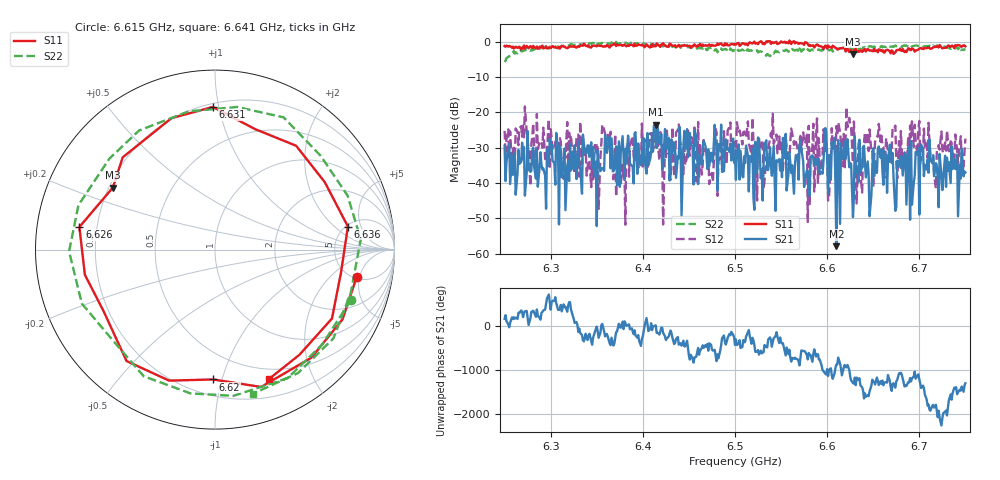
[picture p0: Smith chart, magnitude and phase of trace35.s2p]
# Hz S RI R 50
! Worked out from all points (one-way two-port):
!   401 points, 6.25 GHz to 6.75 GHz, reference 50 ohm
!   highest |S21| = -23.48 dB at 6.414 GHz (marker M1); lowest = -57.9 dB at 6.61 GHz (marker M2)
!   lowest |S11| = -3.5 dB at 6.628 GHz (marker M3), VSWR 4.98, Z = 10.8 + j13.4 ohm
!   |S11| at or under -10 dB: nowhere
!   |S22| runs from -5.8 to -0.1 dB; largest |S21 - S12| = 0.15
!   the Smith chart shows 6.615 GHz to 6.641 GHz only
!   S11 on the Smith chart (normalised r, x): 6.615 GHz: 5.22, -4.52; 6.62 GHz: 0.31, -0.94; 6.626 GHz: 0.13, +0.08; 6.631 GHz: 0.22, +0.96; 6.636 GHz: 5.19, +3.07; 6.641 GHz: 0.38, -1.42
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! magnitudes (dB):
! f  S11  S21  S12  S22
! 6.25 GHz  -1.3  -29.5  -25.2  -5.8
! 6.334 GHz  -1.1  -43.0  -34.8  -0.9
! 6.344 GHz  -1.7  -28.5  -41.2  -0.6
! 6.358 GHz  -1.4  -36.6  -25.0  -0.5
! 6.379 GHz  -1.0  -31.8  -38.1  -0.4
! 6.386 GHz  -0.9  -34.5  -29.5  -0.5
! 6.414 GHz  -1.3  -23.5  -25.4  -0.9
! 6.418 GHz  -1.2  -28.7  -33.6  -1.0
! 6.474 GHz  -1.3  -31.4  -37.5  -1.9
! 6.5 GHz  -0.7  -32.6  -28.4  -2.7
! 6.584 GHz  -1.1  -32.2  -29.6  -2.2
! 6.61 GHz  -1.9  -57.9  -23.9  -2.3
! 6.615 GHz  -1.9  -28.8  -28.5  -1.9
! 6.62 GHz  -2.8  -33.2  -28.0  -1.8
! 6.626 GHz  -2.3  -34.6  -24.2  -1.9
! 6.628 GHz  -3.5  -49.6  -34.3  -2.2
! 6.631 GHz  -2.0  -36.7  -34.8  -1.9
! 6.636 GHz  -2.5  -36.9  -37.2  -1.8
! 6.641 GHz  -2.1  -34.3  -25.7  -1.6
! 6.645 GHz  -2.4  -37.6  -31.0  -1.5
! 6.668 GHz  -2.8  -29.2  -34.4  -1.5
! 6.75 GHz  -1.4  -37.0  -27.4  -2.1
